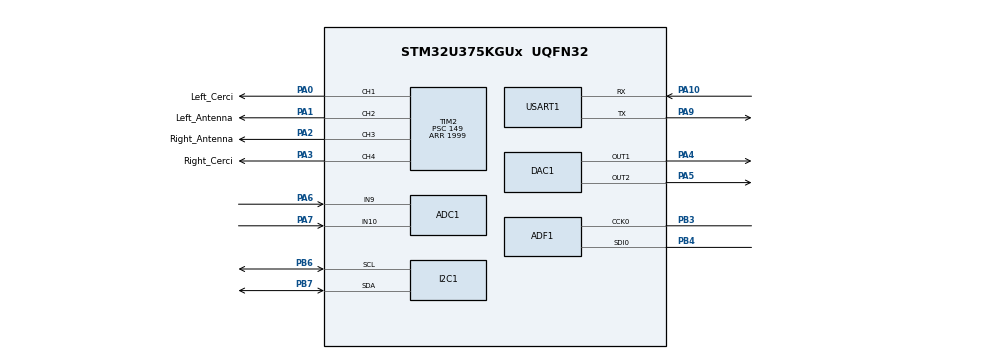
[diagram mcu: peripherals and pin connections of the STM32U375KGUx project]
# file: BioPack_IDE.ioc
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ADC1.Channel-0\#ChannelRegularConversion=ADC_CHANNEL_9
ADC1.MonitoredBy-0\#ChannelRegularConversion=__NULL
ADC1.NbrOfConversionFlag=1
ADC1.OffsetNumber-0\#ChannelRegularConversion=ADC_OFFSET_NONE
ADC1.Rank-0\#ChannelRegularConversion=1
ADC1.SamplingTime-0\#ChannelRegularConversion=ADC_SAMPLETIME_1CYCLE_5
ADC1.master=1
CORTEX_M33_NS.userName=CORTEX_M33
DAC1.DAC_Channel-DAC_OUT1=DAC_CHANNEL_1
DAC1.DAC_Channel-DAC_OUT2=DAC_CHANNEL_2
I2C1.Timing=0x40000A0B
Mcu.Family=STM32U3
Mcu.Name=STM32U375KGUx
Mcu.Package=UQFN32
NVIC.PriorityGroup=NVIC_PRIORITYGROUP_4
PA0.GPIO_Label=Left_Cerci
PA0.Signal=S_TIM2_CH1
PA1.GPIO_Label=Left_Antenna
PA1.Signal=S_TIM2_CH2
PA10.Mode=Asynchronous
PA10.Signal=USART1_RX
PA13\ (JTMS/SWDIO).Mode=Serial_Wire
PA13\ (JTMS/SWDIO).Signal=DEBUG_JTMS-SWDIO
PA14\ (JTCK/SWCLK).Mode=Serial_Wire
PA14\ (JTCK/SWCLK).Signal=DEBUG_JTCK-SWCLK
PA2.GPIO_Label=Right_Antenna
PA2.Signal=S_TIM2_CH3
PA3.GPIO_Label=Right_Cerci
PA3.Signal=S_TIM2_CH4
PA4.Signal=COMP_DAC11_group
PA5.Signal=COMP_DAC12_group
PA6.Mode=IN9-Single-Ended
PA6.Signal=ADC1_IN9
PA7.Mode=IN10-Single-Ended
PA7.Signal=ADC1_IN10
PA9.Mode=Asynchronous
PA9.Signal=USART1_TX
PB3\ (JTDO/TRACESWO).Mode=MOD_MDF_CCK0
PB3\ (JTDO/TRACESWO).Signal=ADF1_CCK0
PB4\ (NJTRST).Mode=MOD_ADF_CCK
PB4\ (NJTRST).Signal=ADF1_SDI0
PB6.Mode=I2C
PB6.Signal=I2C1_SCL
PB7.Mode=I2C
PB7.Signal=I2C1_SDA
PWR.pwrPrivilege=PWR_PRIVILEGE_YES
ProjectManager.HeapSize=0x200
ProjectManager.StackSize=0x400
ProjectManager.TargetToolchain=STM32CubeIDE
RCC.ADCFreq_Value=12000000
RCC.AHBFreq_Value=12000000
RCC.APB1Freq_Value=12000000
RCC.APB1TimFreq_Value=12000000
RCC.APB2Freq_Value=12000000
RCC.APB2TimFreq_Value=12000000
RCC.APB3Freq_Value=12000000
RCC.CortexFreq_Value=1500000
RCC.HCLKFreq_Value=12000000
RCC.HSE_VALUE=16000000
RCC.HSI48_VALUE=48000000
RCC.HSI_VALUE=16000000
RCC.LSE_VALUE=32768
RCC.LSIDIV_VALUE=32000
RCC.SYSCLKFreq_VALUE=12000000
RCC.USBFreq_Value=12000000
SH.COMP_DAC11_group.0=DAC1_OUT1,DAC_OUT1
SH.COMP_DAC12_group.0=DAC1_OUT2,DAC_OUT2
SH.S_TIM2_CH1.0=TIM2_CH1,PWM Generation1 CH1
SH.S_TIM2_CH2.0=TIM2_CH2,PWM Generation2 CH2
SH.S_TIM2_CH3.0=TIM2_CH3,PWM Generation3 CH3
SH.S_TIM2_CH4.0=TIM2_CH4,PWM Generation4 CH4
TIM2.Channel-PWM\ Generation1\ CH1=TIM_CHANNEL_1
TIM2.Channel-PWM\ Generation2\ CH2=TIM_CHANNEL_2
TIM2.Channel-PWM\ Generation3\ CH3=TIM_CHANNEL_3
TIM2.Channel-PWM\ Generation4\ CH4=TIM_CHANNEL_4
TIM2.PeriodNoDither=1999
TIM2.Prescaler=149
TIM2.PulseNoDither_1=1000
USART1.VirtualMode-Asynchronous=VM_ASYNC
VP_MEMORYMAP_VS_MEMORYMAP.Mode=CurAppReg
VP_PWR_VS_DBSignals.Mode=DisableDeadBatterySignals
VP_PWR_VS_LPOM.Mode=PowerOptimisation
VP_PWR_VS_SECSignals.Mode=Security/Privilege
board=custom

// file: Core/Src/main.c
/* USER CODE BEGIN Header */
/**
  ******************************************************************************
  * @file           : main.c
  * @brief          : Main program body
  ******************************************************************************
  * @attention
  *
  * Copyright (c) 2026 STMicroelectronics.
  * All rights reserved.
  *
  * This software is licensed under terms that can be found in the LICENSE file
  * in the root directory of this software component.
  * If no LICENSE file comes with this software, it is provided AS-IS.
  *
  ******************************************************************************
  */
/* USER CODE END Header */
#include "main.h"

ADC_HandleTypeDef hadc1;

MDF_HandleTypeDef AdfHandle0;
MDF_FilterConfigTypeDef AdfFilterConfig0;

DAC_HandleTypeDef hdac1;

I2C_HandleTypeDef hi2c1;

TIM_HandleTypeDef htim2;

UART_HandleTypeDef huart1;

void SystemClock_Config(void);
static void MX_GPIO_Init(void);
static void MX_USART1_UART_Init(void);
static void MX_I2C1_Init(void);
static void MX_ADC1_Init(void);
static void MX_ADF1_Init(void);
static void MX_DAC1_Init(void);
static void MX_TIM2_Init(void);

/* USER CODE BEGIN 0 */
#define STIM_DURATION_MS      500   	// how long each stimulation runs
#define CERCI_TO_ANTENNA_MS   5000   	// antenna starts 5s after cerci
#define ANTENNA_TO_CERCI_MS   5000  	// cerci starts 10s after antenna

static void Cerci_On(void)
{
    HAL_TIM_PWM_Start(&htim2, Left_Cerci);
    HAL_TIM_PWM_Start(&htim2, Right_Cerci);
}

static void Cerci_Off(void)
{
    HAL_TIM_PWM_Stop(&htim2, Left_Cerci);
    HAL_TIM_PWM_Stop(&htim2, Right_Cerci);
}

static void Right_Turn_On(void)
{
    HAL_TIM_PWM_Start(&htim2, Left_Antenna);
}

static void Left_Turn_On(void)
{
    HAL_TIM_PWM_Start(&htim2, Right_Antenna);
}

static void Right_Turn_Off(void)
{
    HAL_TIM_PWM_Stop(&htim2, Left_Antenna);
}

static void Left_Turn_Off(void)
{
    HAL_TIM_PWM_Stop(&htim2, Right_Antenna);
}
/* USER CODE END 0 */

int main(void)
{

  /* MCU Configuration--------------------------------------------------------*/

  /* Reset of all peripherals, Initializes the Flash interface and the Systick. */
  HAL_Init();

  /* Configure the system clock */
  SystemClock_Config();

  /* Initialize all configured peripherals */
  MX_GPIO_Init();
  MX_USART1_UART_Init();
  MX_I2C1_Init();
  MX_ADC1_Init();
  MX_ADF1_Init();
  MX_DAC1_Init();
  MX_TIM2_Init();
  /* USER CODE BEGIN 2 */

  uint8_t rx_data;
  uint8_t current_time;
  /* USER CODE END 2 */

  /* Infinite loop */
  while (1)
  {
	  Cerci_On();
	  HAL_Delay(STIM_DURATION_MS);
	  Cerci_Off();

	  HAL_Delay(CERCI_TO_ANTENNA_MS);

	  Right_Turn_On();       // Left antenna ON
	  HAL_Delay(STIM_DURATION_MS);
	  Right_Turn_Off();      // Left antenna OFF

	  HAL_Delay(ANTENNA_TO_CERCI_MS);

	  Cerci_On();
	  HAL_Delay(STIM_DURATION_MS);
	  Cerci_Off();

	  HAL_Delay(CERCI_TO_ANTENNA_MS);

	  Left_Turn_On();        // Right antenna ON
	  HAL_Delay(STIM_DURATION_MS);
	  Left_Turn_Off();       // Right antenna OFF

	  HAL_Delay(ANTENNA_TO_CERCI_MS + 5000);
  }
}

void SystemClock_Config(void)
{
  RCC_OscInitTypeDef RCC_OscInitStruct = {0};
  RCC_ClkInitTypeDef RCC_ClkInitStruct = {0};

  /** Configure the System Power Supply
  */
  if (HAL_PWREx_ConfigSupply(PWR_LDO_SUPPLY) != HAL_OK)
  {
    Error_Handler();
  }

  /** Configure the main internal regulator output voltage
  */
  if (HAL_PWREx_ControlVoltageScaling(PWR_REGULATOR_VOLTAGE_SCALE2) != HAL_OK)
  {
    Error_Handler();
  }

  /** Initializes the CPU, AHB and APB buses clocks
  */
  RCC_OscInitStruct.OscillatorType = RCC_OSCILLATORTYPE_LSI|RCC_OSCILLATORTYPE_MSIS;
  RCC_OscInitStruct.LSIState = RCC_LSI_ON;
  RCC_OscInitStruct.LSIDiv = RCC_LSI_DIV1;
  RCC_OscInitStruct.MSISState = RCC_MSI_ON;
  RCC_OscInitStruct.MSISSource = RCC_MSI_RC0;
  RCC_OscInitStruct.MSISDiv = RCC_MSI_DIV8;
  if (HAL_RCC_OscConfig(&RCC_OscInitStruct) != HAL_OK)
  {
    Error_Handler();
  }

  /** Initializes the CPU, AHB and APB buses clocks
  */
  RCC_ClkInitStruct.ClockType = RCC_CLOCKTYPE_HCLK|RCC_CLOCKTYPE_SYSCLK
                              |RCC_CLOCKTYPE_PCLK1|RCC_CLOCKTYPE_PCLK2
                              |RCC_CLOCKTYPE_PCLK3;
  RCC_ClkInitStruct.SYSCLKSource = RCC_SYSCLKSOURCE_MSIS;
  RCC_ClkInitStruct.AHBCLKDivider = RCC_SYSCLK_DIV1;
  RCC_ClkInitStruct.APB1CLKDivider = RCC_HCLK_DIV1;
  RCC_ClkInitStruct.APB2CLKDivider = RCC_HCLK_DIV1;
  RCC_ClkInitStruct.APB3CLKDivider = RCC_HCLK_DIV1;

  if (HAL_RCC_ClockConfig(&RCC_ClkInitStruct, FLASH_LATENCY_0) != HAL_OK)
  {
    Error_Handler();
  }
}

static void MX_ADC1_Init(void)
{

  ADC_ChannelConfTypeDef sConfig = {0};

  /** Common config
  */
  hadc1.Instance = ADC1;
  hadc1.Init.Resolution = ADC_RESOLUTION_12B;
  hadc1.Init.GainCompensation = 0;
  hadc1.Init.ScanConvMode = ADC_SCAN_DISABLE;
  hadc1.Init.EOCSelection = ADC_EOC_SINGLE_CONV;
  hadc1.Init.LowPowerAutoWait = DISABLE;
  hadc1.Init.ContinuousConvMode = DISABLE;
  hadc1.Init.NbrOfConversion = 1;
  hadc1.Init.DiscontinuousConvMode = DISABLE;
  hadc1.Init.ExternalTrigConv = ADC_SOFTWARE_START;
  hadc1.Init.ExternalTrigConvEdge = ADC_EXTERNALTRIGCONVEDGE_NONE;
  hadc1.Init.Overrun = ADC_OVR_DATA_PRESERVED;
  hadc1.Init.LeftBitShift = ADC_LEFTBITSHIFT_NONE;
  hadc1.Init.ConversionDataManagement = ADC_CONVERSIONDATA_DR;
  hadc1.Init.OversamplingMode = DISABLE;
  if (HAL_ADC_Init(&hadc1) != HAL_OK)
  {
    Error_Handler();
  }

  /** Configure Regular Channel
  */
  sConfig.Channel = ADC_CHANNEL_9;
  sConfig.Rank = ADC_REGULAR_RANK_1;
  sConfig.SamplingTime = ADC_SAMPLETIME_1CYCLE_5;
  sConfig.OffsetNumber = ADC_OFFSET_NONE;
  sConfig.Offset = 0;
  if (HAL_ADC_ConfigChannel(&hadc1, &sConfig) != HAL_OK)
  {
    Error_Handler();
  }

}

static void MX_ADF1_Init(void)
{

  /**
    AdfHandle0 structure initialization and HAL_MDF_Init function call
  */
  AdfHandle0.Instance = ADF1_Filter0;
  AdfHandle0.Init.CommonParam.ProcClockDivider = 1;
  AdfHandle0.Init.CommonParam.OutputClock.Activation = DISABLE;
  AdfHandle0.Init.SerialInterface.Activation = ENABLE;
  AdfHandle0.Init.SerialInterface.Mode = MDF_SITF_LF_MASTER_SPI_MODE;
  AdfHandle0.Init.SerialInterface.ClockSource = MDF_SITF_CCK0_SOURCE;
  AdfHandle0.Init.SerialInterface.Threshold = 4;
  AdfHandle0.Init.FilterBistream = MDF_BITSTREAM0_FALLING;
  if (HAL_MDF_Init(&AdfHandle0) != HAL_OK)
  {
    Error_Handler();
  }

  /**
    AdfFilterConfig0 structure initialization

    WARNING : only structure is filled, no specific init function call for filter
  */
  AdfFilterConfig0.DataSource = MDF_DATA_SOURCE_BSMX;
  AdfFilterConfig0.Delay = 0;
  AdfFilterConfig0.CicMode = MDF_ONE_FILTER_SINC4;
  AdfFilterConfig0.DecimationRatio = 2;
  AdfFilterConfig0.Gain = 0;
  AdfFilterConfig0.ReshapeFilter.Activation = DISABLE;
  AdfFilterConfig0.HighPassFilter.Activation = DISABLE;
  AdfFilterConfig0.SoundActivity.Activation = DISABLE;
  AdfFilterConfig0.AcquisitionMode = MDF_MODE_ASYNC_CONT;
  AdfFilterConfig0.FifoThreshold = MDF_FIFO_THRESHOLD_NOT_EMPTY;
  AdfFilterConfig0.DiscardSamples = 0;

}

static void MX_DAC1_Init(void)
{

  DAC_ChannelConfTypeDef sConfig = {0};
  DAC_AutonomousModeConfTypeDef sAutonomousMode = {0};

  /** DAC Initialization
  */
  hdac1.Instance = DAC1;
  if (HAL_DAC_Init(&hdac1) != HAL_OK)
  {
    Error_Handler();
  }

  /** DAC channel OUT1 config
  */
  sConfig.DAC_HighFrequency = DAC_HIGH_FREQUENCY_INTERFACE_MODE_DISABLE;
  sConfig.DAC_DMADoubleDataMode = DISABLE;
  sConfig.DAC_SignedFormat = DISABLE;
  sConfig.DAC_SampleAndHold = DAC_SAMPLEANDHOLD_DISABLE;
  sConfig.DAC_Trigger = DAC_TRIGGER_NONE;
  sConfig.DAC_OutputBuffer = DAC_OUTPUTBUFFER_DISABLE;
  sConfig.DAC_ConnectOnChipPeripheral = DAC_CHIPCONNECT_EXTERNAL;
  sConfig.DAC_UserTrimming = DAC_TRIMMING_FACTORY;
  if (HAL_DAC_ConfigChannel(&hdac1, &sConfig, DAC_CHANNEL_1) != HAL_OK)
  {
    Error_Handler();
  }

  /** Configure Autonomous Mode
  */
  sAutonomousMode.AutonomousModeState = DAC_AUTONOMOUS_MODE_DISABLE;
  if (HAL_DACEx_SetConfigAutonomousMode(&hdac1, &sAutonomousMode) != HAL_OK)
  {
    Error_Handler();
  }

  /** DAC channel OUT2 config
  */
  if (HAL_DAC_ConfigChannel(&hdac1, &sConfig, DAC_CHANNEL_2) != HAL_OK)
  {
    Error_Handler();
  }

}

static void MX_I2C1_Init(void)
{

  hi2c1.Instance = I2C1;
  hi2c1.Init.Timing = 0x40000A0B;
  hi2c1.Init.OwnAddress1 = 0;
  hi2c1.Init.AddressingMode = I2C_ADDRESSINGMODE_7BIT;
  hi2c1.Init.DualAddressMode = I2C_DUALADDRESS_DISABLE;
  hi2c1.Init.OwnAddress2 = 0;
  hi2c1.Init.OwnAddress2Masks = I2C_OA2_NOMASK;
  hi2c1.Init.GeneralCallMode = I2C_GENERALCALL_DISABLE;
  hi2c1.Init.NoStretchMode = I2C_NOSTRETCH_DISABLE;
  if (HAL_I2C_Init(&hi2c1) != HAL_OK)
  {
    Error_Handler();
  }

  /** Configure Analogue filter
  */
  if (HAL_I2CEx_ConfigAnalogFilter(&hi2c1, I2C_ANALOGFILTER_ENABLE) != HAL_OK)
  {
    Error_Handler();
  }

  /** Configure Digital filter
  */
  if (HAL_I2CEx_ConfigDigitalFilter(&hi2c1, 0) != HAL_OK)
  {
    Error_Handler();
  }

}

static void MX_TIM2_Init(void)
{

  TIM_MasterConfigTypeDef sMasterConfig = {0};
  TIM_OC_InitTypeDef sConfigOC = {0};

  htim2.Instance = TIM2;
  htim2.Init.Prescaler = 149;
  htim2.Init.CounterMode = TIM_COUNTERMODE_UP;
  htim2.Init.Period = 1999;
  htim2.Init.ClockDivision = TIM_CLOCKDIVISION_DIV1;
  htim2.Init.AutoReloadPreload = TIM_AUTORELOAD_PRELOAD_DISABLE;
  if (HAL_TIM_PWM_Init(&htim2) != HAL_OK)
  {
    Error_Handler();
  }
  sMasterConfig.MasterOutputTrigger = TIM_TRGO_RESET;
  sMasterConfig.MasterSlaveMode = TIM_MASTERSLAVEMODE_DISABLE;
  if (HAL_TIMEx_MasterConfigSynchronization(&htim2, &sMasterConfig) != HAL_OK)
  {
    Error_Handler();
  }
  sConfigOC.OCMode = TIM_OCMODE_PWM1;
  sConfigOC.Pulse = 1000;
  sConfigOC.OCPolarity = TIM_OCPOLARITY_HIGH;
  sConfigOC.OCFastMode = TIM_OCFAST_DISABLE;

  if (HAL_TIM_PWM_ConfigChannel(&htim2, &sConfigOC, TIM_CHANNEL_1) != HAL_OK)
      Error_Handler();

  if (HAL_TIM_PWM_ConfigChannel(&htim2, &sConfigOC, TIM_CHANNEL_2) != HAL_OK)
      Error_Handler();

  if (HAL_TIM_PWM_ConfigChannel(&htim2, &sConfigOC, TIM_CHANNEL_3) != HAL_OK)
      Error_Handler();

  if (HAL_TIM_PWM_ConfigChannel(&htim2, &sConfigOC, TIM_CHANNEL_4) != HAL_OK)
      Error_Handler();
  HAL_TIM_MspPostInit(&htim2);

}

static void MX_USART1_UART_Init(void)
{

  huart1.Instance = USART1;
  huart1.Init.BaudRate = 115200;
  huart1.Init.WordLength = UART_WORDLENGTH_8B;
  huart1.Init.StopBits = UART_STOPBITS_1;
  huart1.Init.Parity = UART_PARITY_NONE;
  huart1.Init.Mode = UART_MODE_TX_RX;
  huart1.Init.HwFlowCtl = UART_HWCONTROL_NONE;
  huart1.Init.OverSampling = UART_OVERSAMPLING_16;
  huart1.Init.OneBitSampling = UART_ONE_BIT_SAMPLE_DISABLE;
  huart1.Init.ClockPrescaler = UART_PRESCALER_DIV1;
  huart1.AdvancedInit.AdvFeatureInit = UART_ADVFEATURE_NO_INIT;
  if (HAL_UART_Init(&huart1) != HAL_OK)
  {
    Error_Handler();
  }
  if (HAL_UARTEx_SetTxFifoThreshold(&huart1, UART_TXFIFO_THRESHOLD_1_8) != HAL_OK)
  {
    Error_Handler();
  }
  if (HAL_UARTEx_SetRxFifoThreshold(&huart1, UART_RXFIFO_THRESHOLD_1_8) != HAL_OK)
  {
    Error_Handler();
  }
  if (HAL_UARTEx_DisableFifoMode(&huart1) != HAL_OK)
  {
    Error_Handler();
  }

}

static void MX_GPIO_Init(void)
{

  /* GPIO Ports Clock Enable */
  __HAL_RCC_GPIOA_CLK_ENABLE();
  __HAL_RCC_GPIOB_CLK_ENABLE();

}

void Error_Handler(void)
{
  __disable_irq();
}
